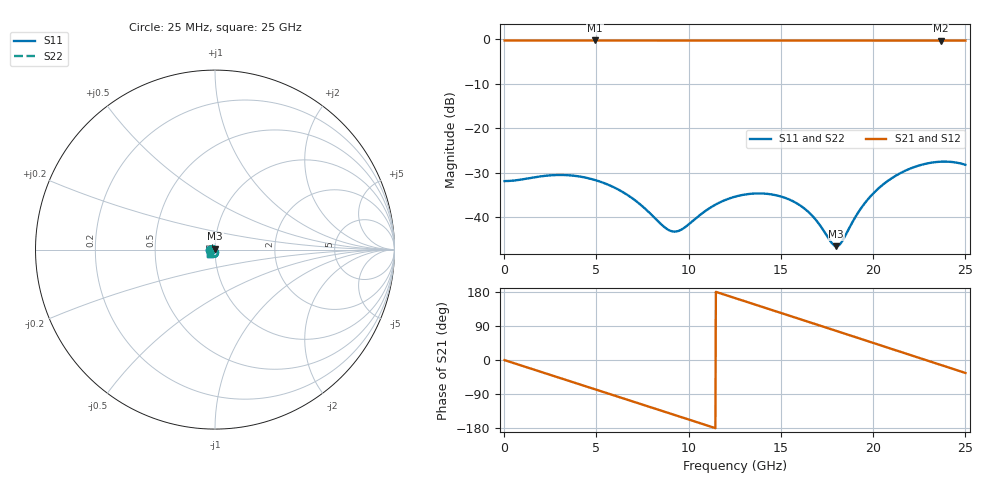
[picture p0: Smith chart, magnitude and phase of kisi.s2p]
! thru_RG_ts6p_L1: 2×thru, L1, 8 mm
! stackup: ThunderScope Rev5.3 6-layer with the In2 plane
! ports: 1, 2
! kisi-fdtd, conformal, dfine 0.07 mm, 139750 cells
# Hz S RI R 50
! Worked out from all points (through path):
!   1000 points, 25 MHz to 25 GHz, reference 50 ohm
!   highest |S21| = -0.25 dB at 4.925 GHz (marker M1); lowest = -0.3 dB at 23.68 GHz (marker M2)
!   group delay of S21, straight-line fit = 43.8 ps
!   lowest |S11| = -46.5 dB at 18 GHz (marker M3), VSWR 1.01, Z = 50.1 + j0.461 ohm
!   |S11| at or under -10 dB: start of sweep to end of sweep
!   |S22| runs from -46.5 to -27.5 dB; largest |S21 - S12| = 0
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2.5e7  -0.0254 5.99e-06  0.9703 -0.00663  0.9703 -0.00663  -0.0254 5.99e-06
1e9  -0.0266 0.00081  0.9344 -0.262  0.9344 -0.262  -0.0266 0.00081
2e9  -0.0284 0.0042  0.8291 -0.5048  0.8291 -0.5048  -0.0284 0.0042
4.2e9  -0.0229 0.0167  0.3972 -0.8862  0.3972 -0.8862  -0.0229 0.0167
4.925e9  -0.0177 0.0192  0.2144 -0.9472  0.2144 -0.9472  -0.0177 0.0192
6.6e9  -0.00398 0.0178  -0.2277 -0.944  -0.2277 -0.944  -0.00398 0.0178
8.35e9  0.00568 0.00689  -0.6375 -0.7319  -0.6375 -0.7319  0.00568 0.00689
8.95e9  0.00678 0.0021  -0.7487 -0.6175  -0.7487 -0.6175  0.00678 0.0021
9.425e9  0.00675 -0.00169  -0.8225 -0.5149  -0.8225 -0.5149  0.00675 -0.00169
1.1e10  0.00163 -0.012  -0.9622 -0.1231  -0.9622 -0.1231  0.00163 -0.012
1.2525e10  -0.00747 -0.0153  -0.929 0.2788  -0.929 0.2788  -0.00747 -0.0153
1.3625e10  -0.0133 -0.0127  -0.8039 0.5428  -0.8039 0.5428  -0.0133 -0.0127
1.4825e10  -0.0161 -0.00657  -0.5844 0.7742  -0.5844 0.7742  -0.0161 -0.00657
1.5825e10  -0.0144 -0.000617  -0.3518 0.9041  -0.3518 0.9041  -0.0144 -0.000617
1.6675e10  -0.00992 0.00338  -0.1321 0.9611  -0.1321 0.9611  -0.00992 0.00338
1.8e10  0.000998 0.0046  0.2206 0.9445  0.2206 0.9445  0.000998 0.0046
1.83e10  0.00372 0.00373  0.298 0.9229  0.298 0.9229  0.00372 0.00373
1.96e10  0.0138 -0.00529  0.6035 0.7586  0.6035 0.7586  0.0138 -0.00529
2.085e10  0.0166 -0.02  0.8244 0.5086  0.8244 0.5086  0.0166 -0.02
2.2275e10  0.00686 -0.0362  0.9557 0.1526  0.9557 0.1526  0.00686 -0.0362
2.3675e10  -0.013 -0.0399  0.942 -0.2198  0.942 -0.2198  -0.013 -0.0399
2.5e10  -0.0289 -0.0258  0.8008 -0.5437  0.8008 -0.5437  -0.0289 -0.0258
